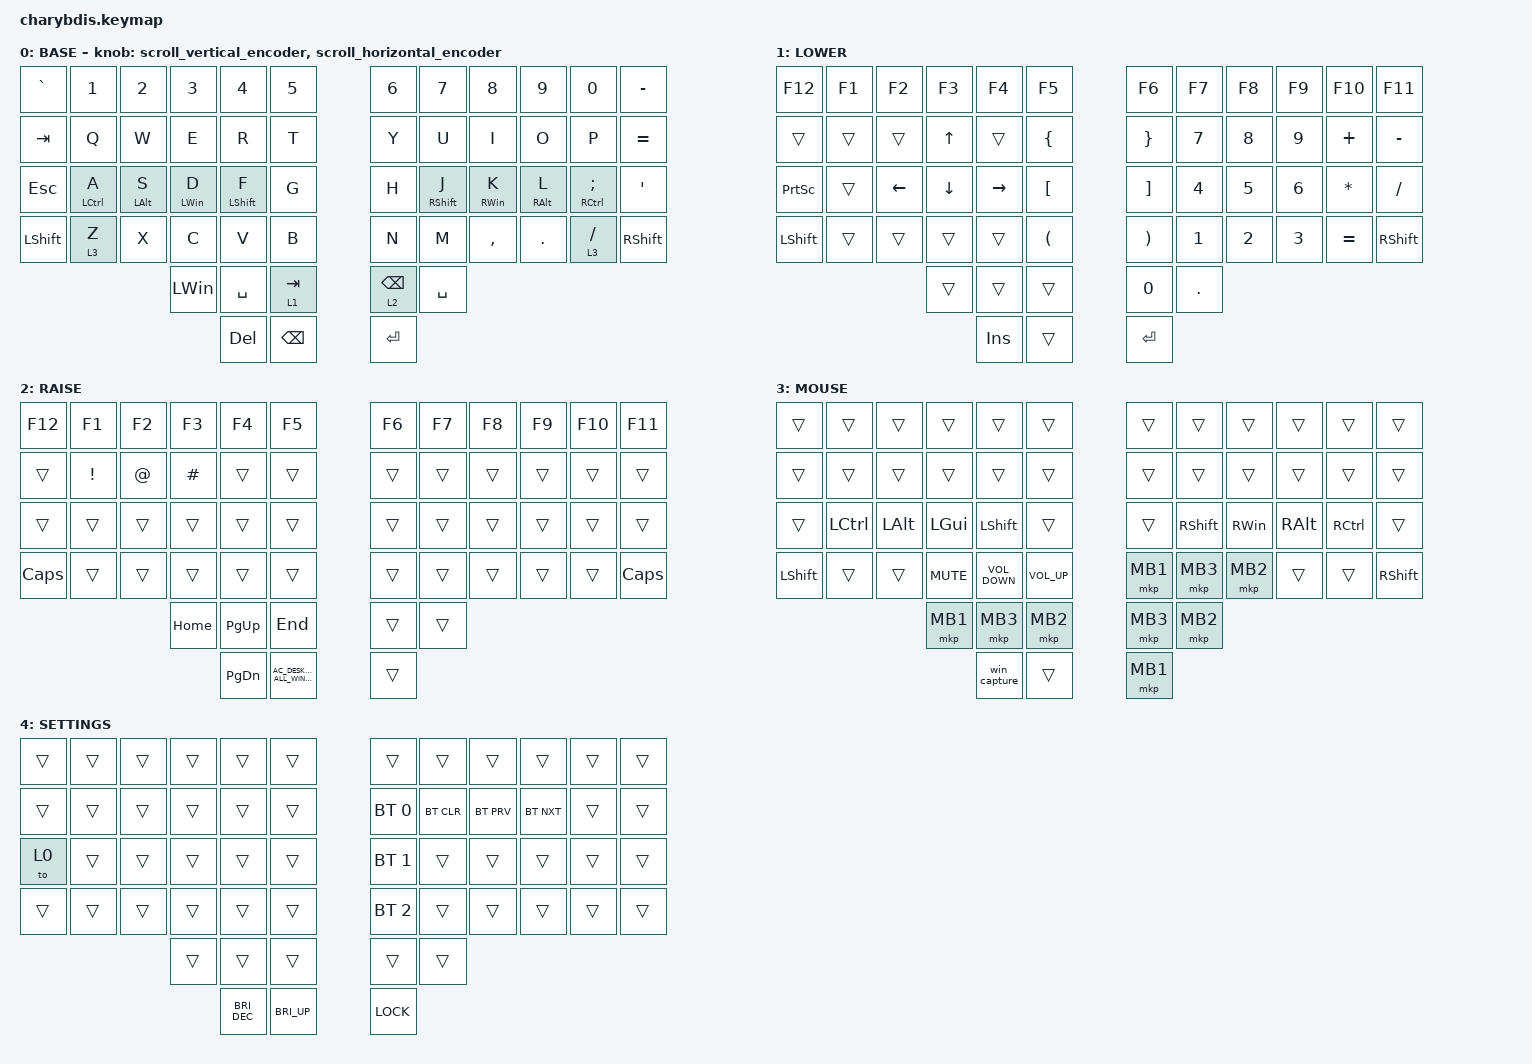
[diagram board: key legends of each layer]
#include <dt-bindings/zmk/mouse.h>
#include <input/processors.dtsi>
#include <zephyr/dt-bindings/input/input-event-codes.h>
#include <behaviors.dtsi>
#include <dt-bindings/zmk/bt.h>
#include <dt-bindings/zmk/keys.h>
#include <dt-bindings/zmk/pointing.h>

#define ZMK_POINTING_DEFAULT_MOVE_VAL 1000 // 600
#define ZMK_POINTING_DEFAULT_SCRL_VAL 12   // 10

&lt {
    tapping-term-ms = <170>;
    flavor = "tap-preferred";
    quick-tap-ms = <200>;
};

&mmv_input_listener { input-processors = <&zip_xy_scaler 2 1>; };

&msc_input_listener { input-processors = <&zip_scroll_scaler 2 1>; };

&msc {
    acceleration-exponent = <0>;      // 0
    time-to-max-speed-ms = <100>;       // 300
    delay-ms = <0>;                   // 0
};

&mmv {
    time-to-max-speed-ms = <500>;
    acceleration-exponent = <1>;
    trigger-period-ms = <16>;
};

&mt {
    tapping-term-ms = <170>;
    quick-tap-ms = <200>;
    flavor = "tap-preferred";
};

/ {
    // 上下滚动编码器行为

    scroll_vertical_encoder: scroll_vertical_encoder {
        compatible = "zmk,behavior-sensor-rotate";
        #sensor-binding-cells = <0>;
        bindings = <&msc SCRL_DOWN>, <&msc SCRL_UP>;

        tap-ms = <100>;
    };

    // 左右滚动编码器行为

    scroll_horizontal_encoder: scroll_horizontal_encoder {
        compatible = "zmk,behavior-sensor-rotate";
        #sensor-binding-cells = <0>;
        bindings = <&msc SCRL_LEFT>, <&msc SCRL_RIGHT>;

        tap-ms = <100>;
    };

    behaviors {
    };

    combos {
        compatible = "zmk,combos";

        SETS {
            bindings = <&to 4>;
            key-positions = <54 55>;
            timeout-ms = <50>;
            layers = <4>;
        };
    };

    macros {
        win_capture: win_capture {
            compatible = "zmk,behavior-macro";
            #binding-cells = <0>;
            bindings = <&kp LWIN &kp LALT &kp S>;
            label = "WIN_CAPTURE";
        };
    };

    keymap {
        compatible = "zmk,keymap";

        BASE {
            bindings = <
&kp GRAVE       &kp N1              &kp N2          &kp N3          &kp N4        &kp N5           &kp N6           &kp N7       &kp N8      &kp N9           &kp N0                  &kp MINUS
&kp TAB         &kp Q               &kp W           &kp E           &kp R         &kp T            &kp Y            &kp U        &kp I       &kp O            &kp P                   &kp EQUAL
&kp ESCAPE      &mt LEFT_CONTROL A  &mt LEFT_ALT S  &mt LEFT_WIN D  &mt LSHIFT F  &kp G            &kp H            &mt RSHFT J  &mt RWIN K  &mt RIGHT_ALT L  &mt RIGHT_CONTROL SEMI  &kp SQT
&kp LEFT_SHIFT  &lt 3 Z             &kp X           &kp C           &kp V         &kp B            &kp N            &kp M        &kp COMMA   &kp PERIOD       &lt 3 SLASH             &kp RIGHT_SHIFT
                                                    &kp LWIN        &kp SPACE     &lt 1 TAB        &lt 2 BACKSPACE  &kp SPACE
                                                                    &kp DEL       &kp BACKSPACE    &kp RET
            >;

            sensor-bindings =
                <&scroll_vertical_encoder>,
                // 编码器1：上下滚动,,,,,,,,,,,,,,,,,,,,,,,,,,,
                <&scroll_horizontal_encoder>;

            // 编码器2：左右滚动
        };

        LOWER {
            bindings = <
&kp F12          &kp F1  &kp F2    &kp F3          &kp F4     &kp F5              &kp F6             &kp F7      &kp F8  &kp F9  &kp F10       &kp F11
&trans           &trans  &trans    &kp UP_ARROW    &trans     &kp LBRC            &kp RBRC           &kp N7      &kp N8  &kp N9  &kp PLUS      &kp MINUS
&kp PRINTSCREEN  &trans  &kp LEFT  &kp DOWN_ARROW  &kp RIGHT  &kp LEFT_BRACKET    &kp RIGHT_BRACKET  &kp N4      &kp N5  &kp N6  &kp ASTERISK  &kp SLASH
&kp LSHFT        &trans  &trans    &trans          &trans     &kp LPAR            &kp RPAR           &kp N1      &kp N2  &kp N3  &kp EQUAL     &kp RSHIFT
                                   &trans          &trans     &trans              &kp N0             &kp PERIOD
                                                   &kp INS    &trans              &kp RETURN
            >;
        };

        RAISE {
            bindings = <
&kp F12       &kp F1    &kp F2  &kp F3    &kp F4     &kp F5                               &kp F6  &kp F7  &kp F8  &kp F9  &kp F10  &kp F11
&trans        &kp EXCL  &kp AT  &kp HASH  &trans     &trans                               &trans  &trans  &trans  &trans  &trans   &trans
&trans        &trans    &trans  &trans    &trans     &trans                               &trans  &trans  &trans  &trans  &trans   &trans
&kp CAPSLOCK  &trans    &trans  &trans    &trans     &trans                               &trans  &trans  &trans  &trans  &trans   &kp CAPS
                                &kp HOME  &kp PG_UP  &kp END                              &trans  &trans
                                          &kp PG_DN  &kp C_AC_DESKTOP_SHOW_ALL_WINDOWS    &trans
            >;
        };

        MOUSE {
            bindings = <
&trans      &trans            &trans        &trans      &trans             &trans             &trans    &trans      &trans    &trans         &trans             &trans
&trans      &trans            &trans        &trans      &trans             &trans             &trans    &trans      &trans    &trans         &trans             &trans
&trans      &kp LEFT_CONTROL  &kp LEFT_ALT  &kp LGUI    &kp LSHIFT         &trans             &trans    &kp RSHIFT  &kp RWIN  &kp RIGHT_ALT  &kp RIGHT_CONTROL  &trans
&kp LSHIFT  &trans            &trans        &kp C_MUTE  &kp C_VOLUME_DOWN  &kp C_VOLUME_UP    &mkp MB1  &mkp MB3    &mkp MB2  &trans         &trans             &kp RSHIFT
                                            &mkp MB1    &mkp MB3           &mkp MB2           &mkp MB3  &mkp MB2
                                                        &win_capture       &trans             &mkp MB1
            >;
        };

        SETTINGS {
            bindings = <
&trans  &trans  &trans  &trans  &trans         &trans          &trans        &trans      &trans      &trans      &trans  &trans
&trans  &trans  &trans  &trans  &trans         &trans          &bt BT_SEL 0  &bt BT_CLR  &bt BT_PRV  &bt BT_NXT  &trans  &trans
&to 0   &trans  &trans  &trans  &trans         &trans          &bt BT_SEL 1  &trans      &trans      &trans      &trans  &trans
&trans  &trans  &trans  &trans  &trans         &trans          &bt BT_SEL 2  &trans      &trans      &trans      &trans  &trans
                        &trans  &trans         &trans          &trans        &trans
                                &kp C_BRI_DEC  &kp C_BRI_UP    &kp K_LOCK
            >;
        };

        /* layer_2 {
            bindings = <
&none  &none   &none    &none   &none         &none         &kp N1         &none         &none     &none  &none   &to 0
&none  &none   &none    &none   &none         &none         &none         &none          &rgb_ug RGB_BRD &rgb_ug RGB_BRI  &rgb_ug RGB_EFF   &rgb_ug RGB_TOG
&none  &none   &none    &none   &none         &none         &none         &mkp LCLK     &mkp RCLK  &none  &none   &none
&none  &none   &none    &none   &bt BT_NXT  &bt BT_CLR    &none         &none         &none     &none  &none   &none
                                   &none         &none         &none         &none         &none
                                                 &none         &none         &none
            >;
       
            
        };

       Mouse {
            bindings = <
&none        &none         &none         &none         &none      &none         &none       &none      &none         &none         &none         &none
&none        &bt BT_SEL 0  &bt BT_SEL 1  &bt BT_SEL 3  &none      &bt BT_CLR    &bt BT_CLR  &none      &bt BT_SEL 2  &bt BT_SEL 1  &bt BT_SEL 0  &none
&none        &trans        &trans        &mkp MCLK     &trans     &none         &none       &trans     &mkp MCLK     &trans        &trans        &none
&bootloader  &trans        &mkp RCLK     &mo 4         &mkp LCLK  &mo 5         &mo 5       &mkp LCLK  &mo 4         &mkp RCLK     &trans        &bootloader
                                         &mo 5         &mkp LCLK  &mkp RCLK     &mkp RCLK   &mkp LCLK
                                                       &none      &trans        &trans
            >;

            
        };

        layer_4 {
            bindings = <
&trans  &trans  &trans     &trans     &trans     &trans       &trans     &trans     &trans     &trans     &trans  &trans
&trans  &trans  &trans     &trans     &trans     &trans       &trans     &trans     &trans     &trans     &trans  &trans
&trans  &trans  &trans     &mkp MCLK  &trans     &trans       &trans     &trans     &mkp MCLK  &trans     &trans  &trans
&trans  &trans  &mkp RCLK  &trans     &mkp LCLK  &trans       &trans     &mkp LCLK  &trans     &mkp RCLK  &trans  &trans
                           &trans     &mkp LCLK  &mkp RCLK    &mkp RCLK  &mkp LCLK
                                      &trans     &trans       &trans
            >;
                
                
               
        };

        layer_5 {
            bindings = <
&trans  &trans  &trans     &trans     &trans     &trans       &trans     &trans     &trans     &trans     &trans  &trans
&trans  &trans  &trans     &trans     &trans     &trans       &trans     &trans     &trans     &trans     &trans  &trans
&trans  &trans  &trans     &mkp MCLK  &trans     &trans       &trans     &trans     &mkp MCLK  &trans     &trans  &trans
&trans  &trans  &mkp RCLK  &trans     &mkp LCLK  &trans       &trans     &mkp LCLK  &trans     &mkp RCLK  &trans  &trans
                           &trans     &mkp LCLK  &mkp RCLK    &mkp RCLK  &mkp LCLK
                                      &trans     &trans       &trans
            >;
                
                
        };*/
    };
};
